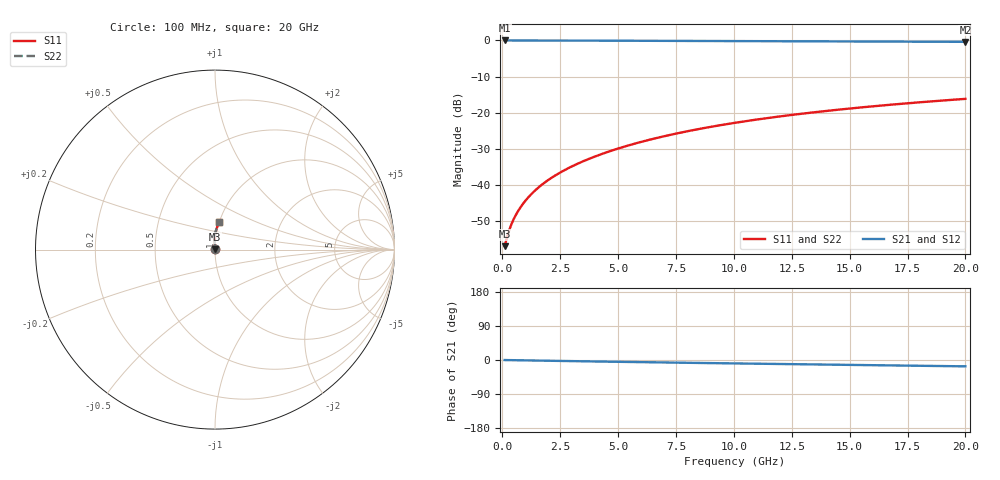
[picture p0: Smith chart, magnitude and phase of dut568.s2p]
! Touchstone file exported from HFSS 2024.1.0
!  File:  C:/UserFiles/LocalFiles/RDL_TSV_Batchsim/temp_RDL_bottom_568_1779690062.aedt
!  Generated:  02:23:24 PM May 25, 2026
!  Design:  RDL_bottom
!  Project:  temp_RDL_bottom_568_1779690062
!  Setup:  Setup1
!  Solution:  Sweep
! Variables:
!  dtsv = 10.80580581um
!  hbump = 3um
!  htsv = 53.37um
!  ldown = 234.03um
!  lrdl = 100um
!  p = 40
!  p1 = 45.98um
!  rhole = 1um
!  t = 450um
!  tdown = 3.14um
!  trdl = 3.915915916um
!  wdown = 26.8um
!  wrdl = 20um
# GHz S MA R 50.000000
! Terminal data exported
! Port[1] = RDL1_T1
! Port[2] = RDL1_T2
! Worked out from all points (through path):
!   200 points, 100 MHz to 20 GHz, reference 50 ohm
!   highest |S21| = -0.01 dB at 100 MHz (marker M1); lowest = -0.4 dB at 20 GHz (marker M2)
!   group delay of S21, straight-line fit = 2.29 ps
!   lowest |S11| = -56.8 dB at 100 MHz (marker M3), VSWR 1.00, Z = 50.1 + j0.0694 ohm
!   |S11| at or under -10 dB: start of sweep to end of sweep
!   |S22| runs from -56.8 to -16.1 dB; largest |S21 - S12| = 2.6e-15
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0.1  0.001442 28.7  0.9987 -0.1  0.9987 -0.1  0.001442 28.7
! Gamma 0 0 0 0
! Port Impedance 50 0 50 0
0.2  0.001893 45.3  0.9986 -0.2  0.9986 -0.2  0.001893 45.3
0.3  0.002406 54.4  0.9985 -0.3  0.9985 -0.3  0.002406 54.4
0.4  0.002925 60.3  0.9984 -0.4  0.9984 -0.4  0.002925 60.3
0.5  0.003446 64.5  0.9984 -0.5  0.9984 -0.5  0.003446 64.5
0.6  0.003969 67.8  0.9983 -0.6  0.9983 -0.6  0.003969 67.8
0.8  0.005034 72.8  0.9981 -0.8  0.9981 -0.8  0.005034 72.8
1  0.006125 76.4  0.9979 -1.0  0.9979 -1.0  0.006125 76.4
1.2  0.007241 79.1  0.9978 -1.2  0.9978 -1.2  0.007242 79.1
1.7  0.01012 83.6  0.9972 -1.7  0.9972 -1.7  0.01012 83.6
2.2  0.01313 86.6  0.9965 -2.2  0.9965 -2.2  0.01313 86.6
2.8  0.01689 89.0  0.9955 -2.8  0.9955 -2.8  0.01689 89.0
3.5  0.02149 90.8  0.994 -3.4  0.994 -3.4  0.02149 90.8
4.2  0.02633 92.0  0.9924 -4.1  0.9924 -4.1  0.02633 92.0
5  0.03213 92.8  0.9905 -4.8  0.9905 -4.8  0.03213 92.8
6.8  0.04602 93.1  0.9857 -6.4  0.9857 -6.4  0.04602 93.1
8.4  0.05905 92.3  0.9815 -7.7  0.9815 -7.7  0.05905 92.3
10.1  0.07327 91.0  0.9773 -9.1  0.9773 -9.1  0.07328 91.0
11.7  0.08681 89.5  0.9735 -10.4  0.9735 -10.4  0.08681 89.5
13.4  0.1012 87.7  0.9696 -11.7  0.9696 -11.7  0.1012 87.7
16.7  0.1289 84.3  0.9626 -14.2  0.9626 -14.2  0.1289 84.3
20  0.1559 81.0  0.9558 -16.7  0.9558 -16.7  0.156 81.0
